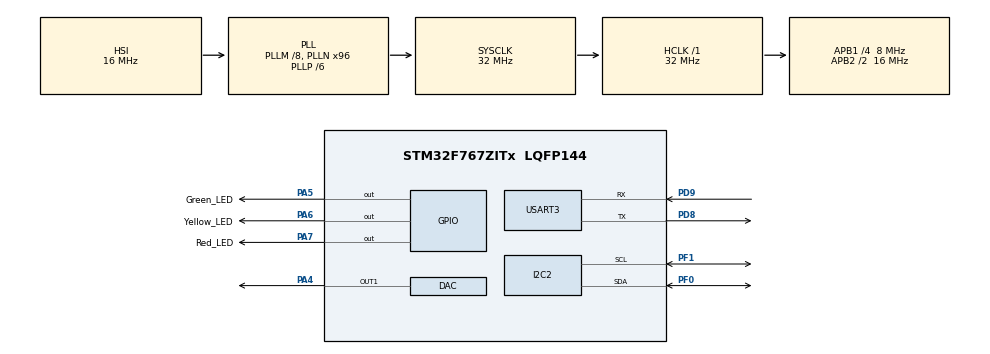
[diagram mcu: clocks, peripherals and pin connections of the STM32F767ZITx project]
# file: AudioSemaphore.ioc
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CORTEX_M7.default_mode_Activation=1
DAC.DAC_Trigger=DAC_TRIGGER_NONE
Dma.DAC1.0.Direction=DMA_MEMORY_TO_PERIPH
Dma.DAC1.0.FIFOMode=DMA_FIFOMODE_DISABLE
Dma.DAC1.0.Instance=DMA1_Stream5
Dma.DAC1.0.MemDataAlignment=DMA_MDATAALIGN_HALFWORD
Dma.DAC1.0.MemInc=DMA_MINC_ENABLE
Dma.DAC1.0.Mode=DMA_CIRCULAR
Dma.DAC1.0.PeriphDataAlignment=DMA_PDATAALIGN_HALFWORD
Dma.DAC1.0.PeriphInc=DMA_PINC_DISABLE
Dma.DAC1.0.Priority=DMA_PRIORITY_LOW
Dma.Request0=DAC1
FREERTOS.Tasks01=decibelMeterTas,2,128,decibelMeterHook,Default,NULL,Dynamic,NULL,NULL;semaphoreTask,2,128,semaphoreHook,Default,NULL,Dynamic,NULL,NULL
I2C2.Timing=0x2000090E
Mcu.Family=STM32F7
Mcu.Name=STM32F767ZITx
Mcu.Package=LQFP144
NVIC.DMA1_Stream5_IRQn=true\:5\:0\:false\:false\:true\:true\:false\:true\:true
NVIC.I2C2_ER_IRQn=true\:5\:0\:false\:false\:true\:true\:true\:true\:true
NVIC.I2C2_EV_IRQn=true\:5\:0\:false\:false\:true\:true\:true\:true\:true
NVIC.PriorityGroup=NVIC_PRIORITYGROUP_4
NVIC.USART3_IRQn=true\:5\:0\:false\:false\:true\:true\:true\:true\:true
PA4.Signal=COMP_DAC1_group
PA5.GPIO_Label=Green_LED
PA5.Signal=GPIO_Output
PA6.GPIO_Label=Yellow_LED
PA6.Signal=GPIO_Output
PA7.GPIO_Label=Red_LED
PA7.Signal=GPIO_Output
PD8.Mode=Asynchronous
PD8.Signal=USART3_TX
PD9.Mode=Asynchronous
PD9.Signal=USART3_RX
PF0.GPIO_Pu=GPIO_PULLUP
PF0.Mode=I2C
PF0.Signal=I2C2_SDA
PF1.GPIO_Pu=GPIO_PULLUP
PF1.Mode=I2C
PF1.Signal=I2C2_SCL
ProjectManager.HeapSize=0x200
ProjectManager.StackSize=0x400
ProjectManager.TargetToolchain=STM32CubeIDE
RCC.AHBFreq_Value=32000000
RCC.APB1CLKDivider=RCC_HCLK_DIV4
RCC.APB1Freq_Value=8000000
RCC.APB1TimFreq_Value=16000000
RCC.APB2CLKDivider=RCC_HCLK_DIV2
RCC.APB2Freq_Value=16000000
RCC.APB2TimFreq_Value=32000000
RCC.CortexFreq_Value=32000000
RCC.HCLKFreq_Value=32000000
RCC.HSE_VALUE=25000000
RCC.HSI_VALUE=16000000
RCC.LSE_VALUE=32768
RCC.PLLM=8
RCC.PLLN=96
RCC.PLLP=RCC_PLLP_DIV6
RCC.SYSCLKFreq_VALUE=32000000
RCC.SYSCLKSource=RCC_SYSCLKSOURCE_PLLCLK
RCC.USBFreq_Value=96000000
RCC.VCOOutputFreq_Value=192000000
SH.COMP_DAC1_group.0=DAC_OUT1,DAC_OUT1
USART3.VirtualMode-Asynchronous=VM_ASYNC
VP_FREERTOS_VS_CMSIS_V1.Mode=CMSIS_V1
board=custom

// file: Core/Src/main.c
/* USER CODE BEGIN Header */
/**
  ******************************************************************************
  * @file           : main.c
  * @brief          : Main program body
  ******************************************************************************
  * @attention
  *
  * Copyright (c) 2024 STMicroelectronics.
  * All rights reserved.
  *
  * This software is licensed under terms that can be found in the LICENSE file
  * in the root directory of this software component.
  * If no LICENSE file comes with this software, it is provided AS-IS.
  *
  ******************************************************************************
  */
/* USER CODE END Header */
#include "main.h"
#include "cmsis_os.h"

/* USER CODE BEGIN Includes */
#include "math.h"
/* USER CODE END Includes */

/* USER CODE BEGIN PD */
#define pi 3.14155926
#define MAX_SAMPLES 10
#define res_8b 256
#define res_12b 4096
#define threshold_worst 90
#define threshold_bad 80
/* USER CODE END PD */

DAC_HandleTypeDef hdac;
DMA_HandleTypeDef hdma_dac1;

I2C_HandleTypeDef hi2c2;

UART_HandleTypeDef huart3;

osThreadId decibelMeterTasHandle;
osThreadId semaphoreTaskHandle;
/* USER CODE BEGIN PV */
uint8_t decibels;
uint32_t sine_val[MAX_SAMPLES];

/* USER CODE END PV */

void SystemClock_Config(void);
static void MPU_Config(void);
static void MX_GPIO_Init(void);
static void MX_DMA_Init(void);
static void MX_DAC_Init(void);
static void MX_I2C2_Init(void);
static void MX_USART3_UART_Init(void);
void decibelMeterHook(void const * argument);
void semaphoreHook(void const * argument);

/* USER CODE BEGIN 0 */
void get_sineval() {
	for (int i = 0; i < MAX_SAMPLES; i++) {
		sine_val[i] = ((sin(i * 2 * pi / MAX_SAMPLES) + 1)) * res_12b / 2;
	}
}
/* USER CODE END 0 */

int main(void)
{

  /* MPU Configuration--------------------------------------------------------*/
  MPU_Config();

  /* MCU Configuration--------------------------------------------------------*/

  /* Reset of all peripherals, Initializes the Flash interface and the Systick. */
  HAL_Init();

  /* Configure the system clock */
  SystemClock_Config();

  /* Initialize all configured peripherals */
  MX_GPIO_Init();
  MX_DMA_Init();
  MX_DAC_Init();
  MX_I2C2_Init();
  MX_USART3_UART_Init();
  /* USER CODE BEGIN 2 */
//  get_sineval();
//  HAL_TIM_Base_Start(&htim6);
//  HAL_DAC_Start_DMA(&hdac, DAC_CHANNEL_1, &sine_val, MAX_SAMPLES, DAC_ALIGN_12B_R);
  HAL_DAC_Start(&hdac, DAC1_CHANNEL_1);
  for (uint8_t addr = 0; addr < 128; addr++) {
      if (HAL_I2C_IsDeviceReady(&hi2c2, addr << 1, 1, HAL_MAX_DELAY) == HAL_OK) {
          char msg[30];
          sprintf(msg, "Device found at 0x%02X\r\n", addr);
          HAL_UART_Transmit(&huart3, (uint8_t *)msg, strlen(msg), HAL_MAX_DELAY);
          break;
      }
  }

  char start_msg[] = "Listening for audio\r\n";
  HAL_UART_Transmit(&huart3, (uint8_t *)start_msg, strlen(start_msg), HAL_MAX_DELAY);

  /* USER CODE END 2 */

  /* Create the thread(s) */
  /* definition and creation of decibelMeterTas */
  osThreadDef(decibelMeterTas, decibelMeterHook, osPriorityHigh, 0, 128);
  decibelMeterTasHandle = osThreadCreate(osThread(decibelMeterTas), NULL);

  /* definition and creation of semaphoreTask */
  osThreadDef(semaphoreTask, semaphoreHook, osPriorityHigh, 0, 128);
  semaphoreTaskHandle = osThreadCreate(osThread(semaphoreTask), NULL);

  /* Start scheduler */
  osKernelStart();

  /* We should never get here as control is now taken by the scheduler */

  /* Infinite loop */
  while (1)
  {

  }
}

void SystemClock_Config(void)
{
  RCC_OscInitTypeDef RCC_OscInitStruct = {0};
  RCC_ClkInitTypeDef RCC_ClkInitStruct = {0};

  /** Configure the main internal regulator output voltage
  */
  __HAL_RCC_PWR_CLK_ENABLE();
  __HAL_PWR_VOLTAGESCALING_CONFIG(PWR_REGULATOR_VOLTAGE_SCALE3);

  /** Initializes the RCC Oscillators according to the specified parameters
  * in the RCC_OscInitTypeDef structure.
  */
  RCC_OscInitStruct.OscillatorType = RCC_OSCILLATORTYPE_HSI;
  RCC_OscInitStruct.HSIState = RCC_HSI_ON;
  RCC_OscInitStruct.HSICalibrationValue = RCC_HSICALIBRATION_DEFAULT;
  RCC_OscInitStruct.PLL.PLLState = RCC_PLL_ON;
  RCC_OscInitStruct.PLL.PLLSource = RCC_PLLSOURCE_HSI;
  RCC_OscInitStruct.PLL.PLLM = 8;
  RCC_OscInitStruct.PLL.PLLN = 96;
  RCC_OscInitStruct.PLL.PLLP = RCC_PLLP_DIV6;
  RCC_OscInitStruct.PLL.PLLQ = 2;
  RCC_OscInitStruct.PLL.PLLR = 2;
  if (HAL_RCC_OscConfig(&RCC_OscInitStruct) != HAL_OK)
  {
    Error_Handler();
  }

  /** Initializes the CPU, AHB and APB buses clocks
  */
  RCC_ClkInitStruct.ClockType = RCC_CLOCKTYPE_HCLK|RCC_CLOCKTYPE_SYSCLK
                              |RCC_CLOCKTYPE_PCLK1|RCC_CLOCKTYPE_PCLK2;
  RCC_ClkInitStruct.SYSCLKSource = RCC_SYSCLKSOURCE_PLLCLK;
  RCC_ClkInitStruct.AHBCLKDivider = RCC_SYSCLK_DIV1;
  RCC_ClkInitStruct.APB1CLKDivider = RCC_HCLK_DIV4;
  RCC_ClkInitStruct.APB2CLKDivider = RCC_HCLK_DIV2;

  if (HAL_RCC_ClockConfig(&RCC_ClkInitStruct, FLASH_LATENCY_1) != HAL_OK)
  {
    Error_Handler();
  }
}

static void MX_DAC_Init(void)
{

  DAC_ChannelConfTypeDef sConfig = {0};

  /** DAC Initialization
  */
  hdac.Instance = DAC;
  if (HAL_DAC_Init(&hdac) != HAL_OK)
  {
    Error_Handler();
  }

  /** DAC channel OUT1 config
  */
  sConfig.DAC_Trigger = DAC_TRIGGER_NONE;
  sConfig.DAC_OutputBuffer = DAC_OUTPUTBUFFER_ENABLE;
  if (HAL_DAC_ConfigChannel(&hdac, &sConfig, DAC_CHANNEL_1) != HAL_OK)
  {
    Error_Handler();
  }

}

static void MX_I2C2_Init(void)
{

  hi2c2.Instance = I2C2;
  hi2c2.Init.Timing = 0x2000090E;
  hi2c2.Init.OwnAddress1 = 0;
  hi2c2.Init.AddressingMode = I2C_ADDRESSINGMODE_7BIT;
  hi2c2.Init.DualAddressMode = I2C_DUALADDRESS_DISABLE;
  hi2c2.Init.OwnAddress2 = 0;
  hi2c2.Init.OwnAddress2Masks = I2C_OA2_NOMASK;
  hi2c2.Init.GeneralCallMode = I2C_GENERALCALL_DISABLE;
  hi2c2.Init.NoStretchMode = I2C_NOSTRETCH_DISABLE;
  if (HAL_I2C_Init(&hi2c2) != HAL_OK)
  {
    Error_Handler();
  }

  /** Configure Analogue filter
  */
  if (HAL_I2CEx_ConfigAnalogFilter(&hi2c2, I2C_ANALOGFILTER_ENABLE) != HAL_OK)
  {
    Error_Handler();
  }

  /** Configure Digital filter
  */
  if (HAL_I2CEx_ConfigDigitalFilter(&hi2c2, 0) != HAL_OK)
  {
    Error_Handler();
  }

}

static void MX_USART3_UART_Init(void)
{

  huart3.Instance = USART3;
  huart3.Init.BaudRate = 115200;
  huart3.Init.WordLength = UART_WORDLENGTH_8B;
  huart3.Init.StopBits = UART_STOPBITS_1;
  huart3.Init.Parity = UART_PARITY_NONE;
  huart3.Init.Mode = UART_MODE_TX_RX;
  huart3.Init.HwFlowCtl = UART_HWCONTROL_NONE;
  huart3.Init.OverSampling = UART_OVERSAMPLING_16;
  huart3.Init.OneBitSampling = UART_ONE_BIT_SAMPLE_DISABLE;
  huart3.AdvancedInit.AdvFeatureInit = UART_ADVFEATURE_NO_INIT;
  if (HAL_UART_Init(&huart3) != HAL_OK)
  {
    Error_Handler();
  }

}

static void MX_DMA_Init(void)
{

  /* DMA controller clock enable */
  __HAL_RCC_DMA1_CLK_ENABLE();

  /* DMA interrupt init */
  /* DMA1_Stream5_IRQn interrupt configuration */
  HAL_NVIC_SetPriority(DMA1_Stream5_IRQn, 5, 0);
  HAL_NVIC_EnableIRQ(DMA1_Stream5_IRQn);

}

static void MX_GPIO_Init(void)
{
  GPIO_InitTypeDef GPIO_InitStruct = {0};

  /* GPIO Ports Clock Enable */
  __HAL_RCC_GPIOF_CLK_ENABLE();
  __HAL_RCC_GPIOA_CLK_ENABLE();
  __HAL_RCC_GPIOD_CLK_ENABLE();

  /*Configure GPIO pin Output Level */
  HAL_GPIO_WritePin(GPIOA, Green_LED_Pin|Yellow_LED_Pin|Red_LED_Pin, GPIO_PIN_RESET);

  /*Configure GPIO pins : Green_LED_Pin Yellow_LED_Pin Red_LED_Pin */
  GPIO_InitStruct.Pin = Green_LED_Pin|Yellow_LED_Pin|Red_LED_Pin;
  GPIO_InitStruct.Mode = GPIO_MODE_OUTPUT_PP;
  GPIO_InitStruct.Pull = GPIO_NOPULL;
  GPIO_InitStruct.Speed = GPIO_SPEED_FREQ_LOW;
  HAL_GPIO_Init(GPIOA, &GPIO_InitStruct);

}

void decibelMeterHook(void const * argument)
{
  /* USER CODE BEGIN 5 */
  TickType_t ticks = pdMS_TO_TICKS(400);

  /* Infinite loop */
  for(;;)
  {
	vTaskDelay(ticks);
	if (HAL_I2C_Mem_Write(&hi2c2, 0x91, 0x0A, I2C_MEMADD_SIZE_8BIT, 0x0A, 1, HAL_MAX_DELAY) != HAL_OK) {
	  char error_msg[] = "I2C Mem Write Error\r\n";
	  HAL_UART_Transmit(&huart3, (uint8_t *)error_msg, strlen(error_msg), HAL_MAX_DELAY);
	  continue;
	}

	if (HAL_I2C_Mem_Read(&hi2c2, 0x91, 0x0A, I2C_MEMADD_SIZE_8BIT, &decibels, 1, HAL_MAX_DELAY) != HAL_OK) {
	  char error_msg[] = "I2C Mem Read Error\r\n";
	  HAL_UART_Transmit(&huart3, (uint8_t *)error_msg, strlen(error_msg), HAL_MAX_DELAY);
	  continue;
	}

	char msg[20];
	sprintf(msg, "Sound level: %d dB\r\n", decibels);
	HAL_UART_Transmit(&huart3, (uint8_t *)msg, strlen(msg), HAL_MAX_DELAY);
  }
  /* USER CODE END 5 */
}

void semaphoreHook(void const * argument)
{
  /* USER CODE BEGIN semaphoreHook */
  TickType_t ticks = pdMS_TO_TICKS(1);
  /* Infinite loop */
  for(;;)
  {
	  HAL_GPIO_WritePin(Green_LED_GPIO_Port, Green_LED_Pin | Red_LED_Pin | Yellow_LED_Pin, GPIO_PIN_RESET);
	  if (decibels >= threshold_worst) {
		  HAL_GPIO_WritePin(Red_LED_GPIO_Port, Red_LED_Pin, GPIO_PIN_SET);
	  } else if (decibels >= threshold_bad) {
		  HAL_GPIO_WritePin(Yellow_LED_GPIO_Port, Yellow_LED_Pin, GPIO_PIN_SET);
	  } else {
		  HAL_GPIO_WritePin(Green_LED_GPIO_Port, Green_LED_Pin, GPIO_PIN_SET);
	  }

	  vTaskDelay(ticks);
  }
  /* USER CODE END semaphoreHook */
}

 /* MPU Configuration */

void MPU_Config(void)
{
  MPU_Region_InitTypeDef MPU_InitStruct = {0};

  /* Disables the MPU */
  HAL_MPU_Disable();

  /** Initializes and configures the Region and the memory to be protected
  */
  MPU_InitStruct.Enable = MPU_REGION_ENABLE;
  MPU_InitStruct.Number = MPU_REGION_NUMBER0;
  MPU_InitStruct.BaseAddress = 0x0;
  MPU_InitStruct.Size = MPU_REGION_SIZE_4GB;
  MPU_InitStruct.SubRegionDisable = 0x87;
  MPU_InitStruct.TypeExtField = MPU_TEX_LEVEL0;
  MPU_InitStruct.AccessPermission = MPU_REGION_NO_ACCESS;
  MPU_InitStruct.DisableExec = MPU_INSTRUCTION_ACCESS_DISABLE;
  MPU_InitStruct.IsShareable = MPU_ACCESS_SHAREABLE;
  MPU_InitStruct.IsCacheable = MPU_ACCESS_NOT_CACHEABLE;
  MPU_InitStruct.IsBufferable = MPU_ACCESS_NOT_BUFFERABLE;

  HAL_MPU_ConfigRegion(&MPU_InitStruct);
  /* Enables the MPU */
  HAL_MPU_Enable(MPU_PRIVILEGED_DEFAULT);

}

void Error_Handler(void)
{
  __disable_irq();
  while (1)
  {
  }
}
